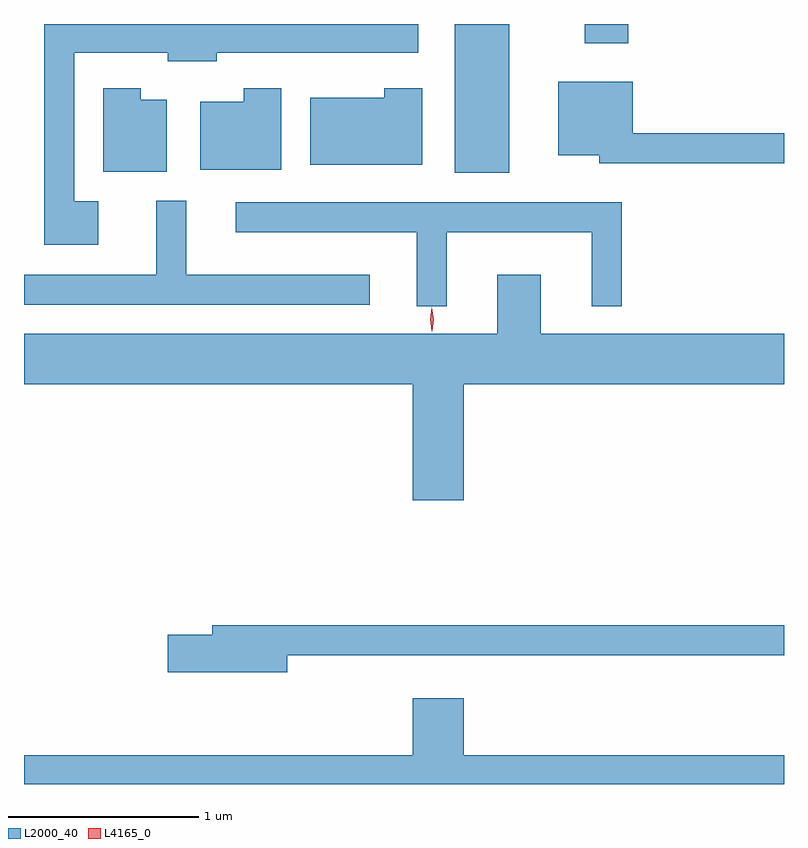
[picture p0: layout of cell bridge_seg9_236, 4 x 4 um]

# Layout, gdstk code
import gdstk
lib = gdstk.Library(unit=1e-6, precision=1e-09)
def R(c, l, rs):  # rectangles x0, y0, x1, y1
    for r in rs: c.add(gdstk.rectangle(r[:2], r[2:], *l))
def P(c, l, *ps):  # polygons
    for p in ps: c.add(gdstk.Polygon(p, *l))
L2000_40 = (2000, 40)
L4165_0 = (4165, 0)

bridge_seg9_236 = lib.new_cell('bridge_seg9_236')
R(bridge_seg9_236, L2000_40, [(1374.136,1964.071,1374.424,1964.853), (1374.821,1964.751,1375.049,1964.853)])
P(bridge_seg9_236, L2000_40, [(1372.259,1963.919),(1372.134,1963.919),(1372.134,1964.701),(1372.626,1964.701),(1372.626,1964.656),(1372.884,1964.656),(1372.884,1964.701),(1373.943,1964.701),(1373.943,1964.853),(1371.976,1964.853),(1371.976,1963.691),(1372.259,1963.691)],
  [(1375.869,1964.279),(1375.074,1964.279),(1375.074,1964.549),(1374.681,1964.549),(1374.681,1964.161),(1374.896,1964.161),(1374.896,1964.121),(1375.869,1964.121)],
  [(1373.964,1964.514),(1373.766,1964.514),(1373.766,1964.464),(1373.376,1964.464),(1373.376,1964.111),(1373.964,1964.111)],
  [(1373.224,1964.514),(1373.026,1964.514),(1373.026,1964.444),(1372.796,1964.444),(1372.796,1964.086),(1373.224,1964.086)],
  [(1372.619,1964.454),(1372.484,1964.454),(1372.484,1964.514),(1372.286,1964.514),(1372.286,1964.076),(1372.619,1964.076)],
  [(1373.688,1963.534),(1372.724,1963.534),(1372.724,1963.923),(1372.566,1963.923),(1372.566,1963.534),(1371.869,1963.534),(1371.869,1963.376),(1373.688,1963.376)],
  [(1374.094,1963.756),(1374.856,1963.756),(1374.856,1963.368),(1375.014,1963.368),(1375.014,1963.914),(1372.983,1963.914),(1372.983,1963.756),(1373.936,1963.756),(1373.936,1963.368),(1374.094,1963.368)],
  [(1374.184,1962.956),(1375.869,1962.956),(1375.869,1963.224),(1374.589,1963.224),(1374.589,1963.534),(1374.361,1963.534),(1374.361,1963.224),(1371.869,1963.224),(1371.869,1962.956),(1373.916,1962.956),(1373.916,1962.346),(1374.184,1962.346)],
  [(1373.254,1961.531),(1375.869,1961.531),(1375.869,1961.689),(1372.861,1961.689),(1372.861,1961.639),(1372.626,1961.639),(1372.626,1961.441),(1373.254,1961.441)],
  [(1375.869,1961.004),(1374.184,1961.004),(1374.184,1961.304),(1373.916,1961.304),(1373.916,1961.004),(1371.869,1961.004),(1371.869,1960.853),(1375.869,1960.853)])
P(bridge_seg9_236, L4165_0, [(1374.016,1963.235),(1374.016,1963.236),(1374.006,1963.298),(1374.015,1963.361),(1374.015,1963.362),(1374.016,1963.361),(1374.026,1963.298),(1374.017,1963.236)])

lib.write_gds('bridge_seg9_236.gds')
